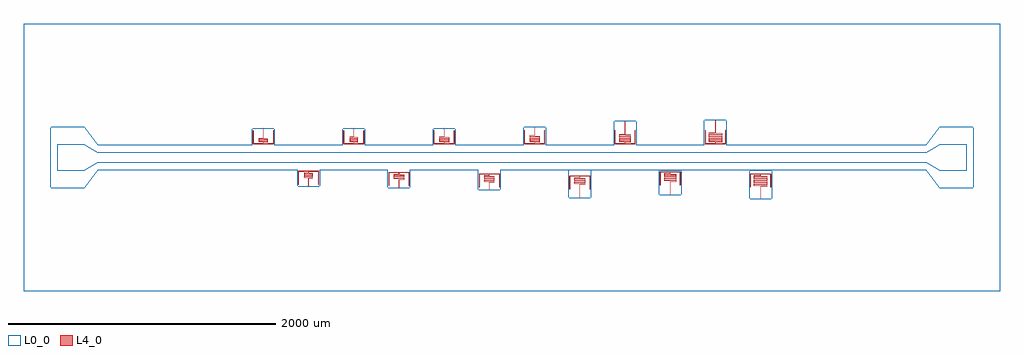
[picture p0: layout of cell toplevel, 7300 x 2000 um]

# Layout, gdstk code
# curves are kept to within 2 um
import gdstk
lib = gdstk.Library(unit=1e-6, precision=1e-09)
def P(c, l, *ps):  # polygons
    for p in ps: c.add(gdstk.Polygon(p, *l))
L0_0 = (0, 0)
L4_0 = (4, 0)

toplevel = lib.new_cell('toplevel')
P(toplevel, L0_0, [(3650,1000),(-3650,1000),(-3650,-225),(-3450,-225),(-3450,225),(-3200,225),(-3100,90),(-1942.5,90),(-1942.5,215),(-1777.5,215),(-1777.5,90),(-1266.136,90),(-1266.136,215),(-1101.136,215),(-1101.136,90),(-589.773,90),(-589.773,215),(-424.773,215),(-424.773,90),(86.591,90),(86.591,225),(251.591,225),(251.591,90),(762.954,90),(762.954,270),(927.954,270),(927.954,90),(1439.318,90),(1439.318,280),(1604.318,280),(1604.318,90),(3100,90),(3200,225),(3450,225),(3450,-225),(3200,-225),(3100,-90),(-86.591,-90),(-86.591,-240),(-251.591,-240),(-251.591,-90),(-762.954,-90),(-762.954,-225),(-927.954,-225),(-927.954,-90),(-1439.318,-90),(-1439.318,-215),(-1604.318,-215),(-1604.318,-90),(-3100,-90),(-3200,-225),(-3650,-225),(-3650,-300),(424.773,-300),(424.773,-95),(589.773,-95),(589.773,-280),(1101.136,-280),(1101.136,-100),(1266.136,-100),(1266.136,-280),(589.773,-280),(589.773,-300),(-3650,-300),(-3650,-310),(1777.5,-310),(1777.5,-100),(1942.5,-100),(1942.5,-310),(-3650,-310),(-3650,-1000),(3650,-1000)],
  [(-3100,40),(-3200,100),(-3400,100),(-3400,-100),(-3200,-100),(-3100,-40),(3100,-40),(3200,-100),(3400,-100),(3400,100),(3200,100),(3100,40)])
P(toplevel, L4_0, [(-1859.7,113.83),(-1859.563,114.44),(-1859.015,114.599),(-1827.792,114.609),(-1826.952,115.005),(-1826.7,115.958),(-1826.745,119.348),(-1827.792,120.191),(-1892,120.201),(-1892.645,120.502),(-1892.69,124.089),(-1892.132,124.595),(-1828.008,124.6),(-1827.218,124.775),(-1826.785,125.314),(-1826.738,129.316),(-1827.087,129.934),(-1827.798,130.191),(-1891.95,130.2),(-1892.645,130.502),(-1892.687,134.114),(-1892.141,134.594),(-1828.008,134.6),(-1826.8,135.275),(-1826.737,139.309),(-1827.087,139.934),(-1827.798,140.191),(-1891.95,140.2),(-1892.637,140.482),(-1892.691,144.08),(-1892.239,144.584),(-1860.969,144.601),(-1859.819,145.228),(-1859.7,214.9),(-1860.3,214.9),(-1860.368,145.47),(-1861.025,145.2),(-1892.345,145.174),(-1893.271,144.264),(-1893.19,140.248),(-1891.986,139.6),(-1827.859,139.594),(-1827.313,139.11),(-1827.359,135.492),(-1828.05,135.2),(-1892.202,135.191),(-1892.912,134.934),(-1893.261,134.316),(-1893.208,130.294),(-1891.992,129.6),(-1827.859,129.594),(-1827.313,129.114),(-1827.352,125.512),(-1828.05,125.2),(-1892.177,125.193),(-1892.876,124.962),(-1893.254,124.348),(-1893.222,120.334),(-1892.042,119.601),(-1827.811,119.59),(-1827.313,119.114),(-1827.306,115.755),(-1827.99,115.201),(-1859.468,115.15),(-1860.277,114.226),(-1860.3,109.9),(-1870,105),(-1930.62,105),(-1932.27,105.279),(-1932.502,200.109),(-1932.952,201.434),(-1934.043,202.31),(-1935.326,202.479),(-1936.607,201.915),(-1937.5,200),(-1937.475,105.954),(-1936.915,103.4),(-1935.563,101.507),(-1933.447,100.346),(-1930.644,100),(-1789.356,100),(-1786.888,100.253),(-1784.934,101.118),(-1783.1,103.365),(-1782.503,106.563),(-1782.5,200),(-1783.085,201.607),(-1784.353,202.415),(-1785.752,202.384),(-1786.983,201.522),(-1787.498,200.109),(-1787.5,106.88),(-1787.751,105.251),(-1850,105),(-1859.7,109.9)],
  [(-1522.12,-113.967),(-1522.278,-114.463),(-1522.799,-114.599),(-1552.26,-114.644),(-1552.932,-115.099),(-1553.118,-116.001),(-1553.084,-119.296),(-1552.273,-120.153),(-1491.784,-120.201),(-1491.241,-120.377),(-1491.118,-120.986),(-1491.141,-124.179),(-1491.691,-124.595),(-1551.895,-124.602),(-1553.028,-125.301),(-1553.08,-129.316),(-1552.719,-129.944),(-1552.008,-130.192),(-1491.93,-130.2),(-1491.175,-130.498),(-1491.136,-134.151),(-1491.673,-134.594),(-1551.872,-134.601),(-1553.021,-135.281),(-1553.085,-139.29),(-1552.76,-139.908),(-1552.002,-140.192),(-1491.868,-140.2),(-1491.178,-140.489),(-1491.131,-144.11),(-1491.669,-144.593),(-1551.81,-144.6),(-1553.008,-145.248),(-1553.082,-149.303),(-1552.737,-149.929),(-1552.032,-150.19),(-1491.868,-150.2),(-1491.186,-150.47),(-1491.127,-154.076),(-1491.571,-154.582),(-1520.855,-154.601),(-1521.984,-155.196),(-1522.118,-214.9),(-1521.518,-214.9),(-1521.443,-155.455),(-1520.798,-155.2),(-1491.454,-155.171),(-1490.546,-154.258),(-1490.64,-150.222),(-1491.832,-149.6),(-1551.968,-149.593),(-1552.506,-149.106),(-1552.454,-145.479),(-1551.768,-145.2),(-1491.604,-145.19),(-1490.9,-144.929),(-1490.555,-144.309),(-1490.62,-140.268),(-1491.055,-139.764),(-1491.826,-139.6),(-1551.954,-139.594),(-1552.508,-139.089),(-1552.453,-135.476),(-1551.833,-135.201),(-1491.629,-135.192),(-1490.9,-134.929),(-1490.554,-134.303),(-1490.61,-130.294),(-1491.741,-129.602),(-1551.963,-129.594),(-1552.509,-129.076),(-1552.462,-125.498),(-1551.707,-125.2),(-1491.598,-125.189),(-1490.906,-124.934),(-1490.553,-124.296),(-1490.586,-120.367),(-1491.004,-119.794),(-1491.741,-119.602),(-1551.994,-119.591),(-1552.503,-119.127),(-1552.51,-115.728),(-1551.833,-115.201),(-1522.338,-115.146),(-1521.54,-114.22),(-1521.518,-109.9),(-1511.818,-105),(-1451.198,-105),(-1449.548,-105.279),(-1449.316,-200.109),(-1448.866,-201.434),(-1447.775,-202.31),(-1446.492,-202.479),(-1445.211,-201.915),(-1444.552,-201.056),(-1444.318,-200),(-1444.34,-106.009),(-1444.874,-103.469),(-1446.255,-101.507),(-1448.371,-100.346),(-1451.174,-100),(-1592.462,-100),(-1594.93,-100.253),(-1596.884,-101.118),(-1598.718,-103.365),(-1599.315,-106.563),(-1599.318,-200),(-1598.733,-201.607),(-1597.465,-202.415),(-1596.066,-202.384),(-1594.835,-201.522),(-1594.321,-200.109),(-1594.318,-106.84),(-1594.067,-105.251),(-1592.438,-105),(-1531.818,-105),(-1522.118,-109.9)],
  [(-1183.336,113.825),(-1183.205,114.434),(-1182.656,114.599),(-1154.41,114.611),(-1153.569,115.03),(-1153.336,116.001),(-1153.402,119.427),(-1154.459,120.193),(-1212.525,120.2),(-1213.299,120.557),(-1213.325,124.097),(-1212.768,124.595),(-1154.554,124.602),(-1153.426,125.301),(-1153.373,129.309),(-1153.724,129.934),(-1154.441,130.192),(-1212.525,130.2),(-1213.28,130.498),(-1213.319,134.147),(-1212.786,134.593),(-1154.577,134.602),(-1153.797,134.811),(-1153.413,135.34),(-1153.37,139.29),(-1153.754,139.958),(-1154.447,140.192),(-1212.587,140.2),(-1213.279,140.495),(-1213.324,144.11),(-1212.79,144.593),(-1154.645,144.6),(-1153.441,145.261),(-1153.372,149.303),(-1153.718,149.929),(-1154.416,150.19),(-1212.587,150.2),(-1213.27,150.473),(-1213.327,154.076),(-1212.888,154.582),(-1184.6,154.601),(-1183.464,155.209),(-1183.336,214.9),(-1183.936,214.9),(-1184.008,155.461),(-1184.656,155.2),(-1213.007,155.17),(-1213.909,154.258),(-1213.82,150.235),(-1212.628,149.6),(-1154.482,149.593),(-1153.948,149.106),(-1153.998,145.486),(-1154.686,145.2),(-1212.85,145.19),(-1213.555,144.929),(-1213.899,144.309),(-1213.839,140.281),(-1213.406,139.768),(-1212.634,139.6),(-1154.496,139.594),(-1153.947,139.089),(-1153.979,135.539),(-1154.622,135.201),(-1212.838,135.191),(-1213.567,134.919),(-1213.902,134.296),(-1213.844,130.294),(-1212.719,129.602),(-1154.491,129.594),(-1153.945,129.076),(-1153.977,125.546),(-1154.748,125.2),(-1212.856,125.189),(-1213.555,124.929),(-1213.903,124.29),(-1213.868,120.367),(-1213.457,119.798),(-1212.719,119.602),(-1154.46,119.591),(-1153.95,119.123),(-1153.945,115.728),(-1154.622,115.201),(-1183.13,115.143),(-1183.914,114.22),(-1183.936,109.9),(-1193.636,105),(-1254.256,105),(-1255.905,105.277),(-1256.139,200.109),(-1256.588,201.434),(-1257.58,202.266),(-1258.963,202.479),(-1260.243,201.915),(-1260.902,201.056),(-1261.136,200),(-1261.113,105.981),(-1260.566,103.435),(-1259.199,101.507),(-1257.084,100.346),(-1254.28,100),(-1112.992,100),(-1110.524,100.253),(-1108.571,101.118),(-1106.752,103.331),(-1106.139,106.588),(-1106.136,200),(-1106.721,201.607),(-1107.989,202.415),(-1109.492,202.349),(-1110.62,201.522),(-1111.134,200.109),(-1111.136,106.983),(-1111.384,105.255),(-1113.016,105),(-1173.636,105),(-1183.336,109.9)],
  [(-845.757,-123.977),(-845.897,-124.446),(-846.373,-124.597),(-883.831,-124.631),(-884.539,-125.055),(-884.754,-125.958),(-884.721,-129.29),(-884.419,-129.887),(-883.844,-130.167),(-807.464,-130.2),(-806.886,-130.366),(-806.754,-131.022),(-806.774,-134.159),(-807.345,-134.596),(-883.435,-134.6),(-884.204,-134.757),(-884.644,-135.248),(-884.716,-139.316),(-884.355,-139.944),(-883.626,-140.193),(-807.514,-140.2),(-806.821,-140.473),(-806.768,-144.114),(-807.332,-144.595),(-883.43,-144.6),(-884.185,-144.747),(-884.627,-145.209),(-884.717,-149.309),(-884.361,-149.939),(-883.626,-150.193),(-807.514,-150.2),(-806.831,-150.452),(-806.767,-154.11),(-807.332,-154.595),(-883.424,-154.6),(-884.604,-155.163),(-884.72,-159.296),(-884.367,-159.934),(-883.632,-160.193),(-807.52,-160.2),(-806.843,-160.429),(-806.764,-164.08),(-807.244,-164.587),(-844.457,-164.6),(-845.572,-165.105),(-845.754,-224.9),(-845.154,-224.9),(-845.06,-165.418),(-844.415,-165.2),(-807.148,-165.18),(-806.495,-164.892),(-806.182,-164.258),(-806.319,-160.137),(-807.485,-159.6),(-883.577,-159.595),(-884.142,-159.11),(-884.072,-155.44),(-883.389,-155.2),(-807.283,-155.193),(-806.548,-154.939),(-806.19,-154.303),(-806.292,-150.189),(-807.479,-149.6),(-883.577,-149.595),(-884.142,-149.11),(-884.082,-145.461),(-883.395,-145.2),(-807.283,-145.193),(-806.554,-144.944),(-806.193,-144.316),(-806.27,-140.235),(-806.718,-139.75),(-807.479,-139.6),(-883.577,-139.595),(-884.141,-139.114),(-884.09,-135.479),(-883.395,-135.2),(-807.307,-135.195),(-806.524,-134.919),(-806.19,-134.303),(-806.254,-130.275),(-806.672,-129.775),(-807.423,-129.601),(-883.622,-129.592),(-884.14,-129.127),(-884.148,-125.755),(-884.003,-125.344),(-883.531,-125.202),(-845.98,-125.148),(-845.18,-124.245),(-845.154,-119.9),(-835.454,-115),(-774.835,-115),(-773.184,-115.279),(-772.954,-117.046),(-772.952,-210.109),(-772.502,-211.434),(-771.411,-212.31),(-770.128,-212.479),(-768.847,-211.915),(-768.189,-211.056),(-767.954,-210),(-767.978,-115.981),(-768.51,-113.469),(-769.892,-111.507),(-772.007,-110.346),(-774.811,-110),(-916.098,-110),(-918.567,-110.253),(-920.52,-111.118),(-922.339,-113.331),(-922.951,-116.538),(-922.954,-210),(-922.37,-211.607),(-921.101,-212.415),(-919.599,-212.349),(-918.471,-211.522),(-917.957,-210.109),(-917.954,-116.82),(-917.706,-115.254),(-916.074,-115),(-855.454,-115),(-845.754,-119.9)],
  [(-506.973,113.83),(-506.832,114.444),(-506.278,114.599),(-470.589,114.607),(-469.739,114.987),(-469.473,115.958),(-469.543,119.44),(-469.971,120.013),(-470.667,120.197),(-543.763,120.2),(-544.418,120.502),(-544.454,124.155),(-543.886,124.596),(-470.792,124.6),(-470.016,124.76),(-469.578,125.261),(-469.511,129.316),(-469.866,129.939),(-470.595,130.193),(-543.718,130.2),(-544.409,130.479),(-544.46,134.114),(-543.9,134.595),(-470.792,134.6),(-470.036,134.75),(-469.591,135.228),(-469.51,139.309),(-469.866,139.939),(-470.595,140.193),(-543.713,140.2),(-544.399,140.458),(-544.46,144.11),(-543.9,144.595),(-470.798,144.6),(-469.616,145.176),(-469.507,149.296),(-469.86,149.934),(-470.589,150.192),(-543.713,150.2),(-544.388,150.435),(-544.463,154.08),(-543.987,154.587),(-508.264,154.601),(-507.144,155.124),(-506.973,214.9),(-507.573,214.9),(-507.664,155.424),(-508.307,155.2),(-544.092,155.178),(-544.737,154.887),(-545.046,154.251),(-544.916,150.15),(-543.742,149.6),(-470.646,149.595),(-470.085,149.11),(-470.152,145.446),(-470.833,145.2),(-543.95,145.193),(-544.679,144.939),(-545.037,144.303),(-544.942,140.202),(-543.748,139.6),(-470.646,139.595),(-470.085,139.11),(-470.141,135.47),(-470.833,135.2),(-543.95,135.193),(-544.679,134.939),(-545.034,134.316),(-544.962,130.248),(-544.523,129.757),(-543.753,129.6),(-470.646,129.595),(-470.086,129.114),(-470.134,125.486),(-470.828,125.2),(-543.926,125.194),(-544.703,124.919),(-545.037,124.303),(-544.973,120.275),(-544.555,119.775),(-543.804,119.601),(-470.715,119.598),(-470.094,119.171),(-470.079,115.755),(-470.254,115.319),(-470.874,115.2),(-506.701,115.159),(-507.292,114.83),(-507.548,114.239),(-507.573,109.9),(-517.273,105),(-577.893,105),(-579.543,105.279),(-579.773,106.983),(-579.775,200.109),(-580.225,201.434),(-581.316,202.31),(-582.599,202.479),(-583.88,201.915),(-584.538,201.056),(-584.773,200),(-584.746,105.926),(-584.157,103.331),(-582.771,101.451),(-580.72,100.346),(-577.917,100),(-436.629,100),(-434.16,100.253),(-432.207,101.118),(-430.373,103.365),(-429.775,106.613),(-429.773,200),(-430.429,201.689),(-431.732,202.441),(-433.128,202.349),(-434.321,201.434),(-434.77,200.109),(-434.773,106.82),(-435.021,105.254),(-436.653,105),(-497.273,105),(-506.973,109.9)],
  [(-169.393,-133.972),(-169.559,-134.47),(-170.086,-134.599),(-205.974,-134.632),(-206.684,-135.067),(-206.891,-136.001),(-206.851,-139.322),(-206.567,-139.876),(-205.994,-140.164),(-132.571,-140.201),(-132.014,-140.377),(-131.891,-141.022),(-131.907,-144.139),(-132.505,-144.597),(-205.628,-144.601),(-206.373,-144.775),(-206.791,-145.275),(-206.855,-149.303),(-206.521,-149.919),(-205.744,-150.194),(-132.646,-150.2),(-131.952,-150.486),(-131.904,-154.114),(-132.464,-154.595),(-205.571,-154.6),(-206.341,-154.757),(-206.781,-155.248),(-206.852,-159.316),(-206.497,-159.939),(-205.768,-160.193),(-132.651,-160.2),(-131.959,-160.47),(-131.904,-164.11),(-132.464,-164.595),(-205.566,-164.6),(-206.315,-164.743),(-206.76,-165.202),(-206.855,-169.303),(-206.497,-169.939),(-205.768,-170.193),(-132.651,-170.2),(-131.97,-170.446),(-131.904,-174.11),(-132.464,-174.595),(-205.56,-174.6),(-206.289,-174.731),(-206.734,-175.15),(-206.856,-179.296),(-206.503,-179.934),(-205.774,-180.192),(-132.656,-180.2),(-131.982,-180.424),(-131.9,-184.076),(-132.377,-184.587),(-168.1,-184.601),(-169.2,-185.092),(-169.391,-239.9),(-168.791,-239.9),(-168.692,-185.411),(-168.051,-185.2),(-132.271,-185.178),(-131.62,-184.882),(-131.317,-184.245),(-131.462,-180.124),(-132.621,-179.6),(-205.718,-179.595),(-206.279,-179.106),(-206.206,-175.435),(-205.531,-175.2),(-132.407,-175.192),(-131.678,-174.934),(-131.336,-174.348),(-131.434,-170.176),(-131.88,-169.737),(-132.616,-169.6),(-205.718,-169.595),(-206.278,-169.11),(-206.217,-165.458),(-205.531,-165.2),(-132.413,-165.193),(-131.684,-164.939),(-131.328,-164.309),(-131.41,-160.228),(-131.854,-159.75),(-132.61,-159.6),(-205.718,-159.595),(-206.278,-159.114),(-206.227,-155.479),(-205.536,-155.2),(-132.413,-155.193),(-131.684,-154.939),(-131.329,-154.316),(-131.396,-150.261),(-131.835,-149.76),(-132.61,-149.6),(-205.705,-149.596),(-206.272,-149.155),(-206.236,-145.502),(-205.586,-145.2),(-132.437,-145.194),(-131.696,-144.948),(-131.326,-144.296),(-131.383,-140.294),(-131.867,-139.743),(-132.702,-139.6),(-205.745,-139.593),(-206.285,-139.045),(-206.282,-135.728),(-205.919,-135.234),(-169.662,-135.159),(-169.072,-134.83),(-168.816,-134.239),(-168.791,-129.9),(-159.091,-125),(-98.471,-125),(-96.854,-125.241),(-96.591,-126.88),(-96.588,-220.109),(-96.139,-221.434),(-95.048,-222.31),(-93.765,-222.479),(-92.484,-221.915),(-91.825,-221.056),(-91.591,-220),(-91.616,-125.954),(-92.191,-123.365),(-93.56,-121.479),(-95.643,-120.346),(-98.447,-120),(-239.735,-120),(-242.203,-120.253),(-244.157,-121.118),(-245.195,-122.067),(-245.975,-123.331),(-246.588,-126.588),(-246.591,-220),(-246.006,-221.607),(-244.738,-222.415),(-243.339,-222.384),(-242.107,-221.522),(-241.593,-220.109),(-241.591,-126.921),(-241.343,-125.255),(-239.711,-125),(-179.091,-125),(-169.391,-129.9)],
  [(169.391,113.83),(169.532,114.444),(170.086,114.599),(205.774,114.607),(206.63,114.993),(206.891,116.001),(206.834,119.394),(206.467,119.962),(205.732,120.195),(132.702,120.2),(131.942,120.512),(131.907,124.139),(132.437,124.593),(205.628,124.601),(206.373,124.775),(206.791,125.275),(206.855,129.303),(206.521,129.919),(205.744,130.194),(132.646,130.2),(131.948,130.495),(131.904,134.114),(132.464,134.595),(205.571,134.6),(206.347,134.76),(206.789,135.268),(206.852,139.316),(206.497,139.939),(205.768,140.193),(132.646,140.2),(131.955,140.479),(131.904,144.114),(132.464,144.595),(205.571,144.6),(206.328,144.75),(206.772,145.228),(206.854,149.309),(206.497,149.939),(205.768,150.193),(132.651,150.2),(131.964,150.458),(131.904,154.11),(132.464,154.595),(205.566,154.6),(206.302,154.737),(206.747,155.176),(206.856,159.296),(206.503,159.934),(205.774,160.192),(132.651,160.2),(131.976,160.435),(131.9,164.08),(132.377,164.587),(168.1,164.601),(169.22,165.124),(169.391,224.9),(168.791,224.9),(168.7,165.424),(168.056,165.2),(132.271,165.178),(131.626,164.887),(131.318,164.251),(131.448,160.15),(131.893,159.731),(132.621,159.6),(205.718,159.595),(206.278,159.11),(206.212,155.446),(205.531,155.2),(132.413,155.193),(131.684,154.939),(131.327,154.303),(131.422,150.202),(131.867,149.743),(132.616,149.6),(205.718,149.595),(206.278,149.11),(206.223,145.47),(205.531,145.2),(132.413,145.193),(131.684,144.939),(131.329,144.316),(131.401,140.248),(131.841,139.757),(132.61,139.6),(205.718,139.595),(206.278,139.114),(206.231,135.489),(205.536,135.2),(132.413,135.193),(131.69,134.944),(131.331,134.322),(131.388,130.281),(131.828,129.764),(132.61,129.6),(205.705,129.596),(206.272,129.155),(206.236,125.502),(205.586,125.2),(132.437,125.194),(131.696,124.948),(131.343,124.374),(131.365,120.347),(131.822,119.768),(132.702,119.6),(205.745,119.593),(206.285,119.045),(206.282,115.728),(205.972,115.249),(169.662,115.159),(169.072,114.83),(168.816,114.239),(168.791,109.9),(159.091,105),(98.471,105),(96.854,105.241),(96.591,106.88),(96.588,200.109),(96.139,201.434),(95.048,202.31),(93.765,202.479),(92.484,201.915),(91.825,201.056),(91.591,200),(91.616,105.954),(92.191,103.365),(93.56,101.479),(95.643,100.346),(98.447,100),(239.735,100),(242.203,100.253),(244.157,101.118),(245.195,102.067),(245.975,103.331),(246.588,106.588),(246.591,200),(246.006,201.607),(244.738,202.415),(243.339,202.384),(242.107,201.522),(241.593,200.109),(241.591,106.921),(241.343,105.255),(239.711,105),(179.091,105),(169.391,109.9)],
  [(506.97,-148.977),(506.8,-149.474),(506.172,-149.6),(466.972,-149.619),(466.234,-149.994),(465.973,-150.88),(466.001,-154.264),(466.28,-154.859),(466.766,-155.14),(547.363,-155.203),(547.817,-155.341),(547.967,-155.768),(547.968,-159.023),(547.7,-159.533),(467.149,-159.604),(466.354,-159.871),(465.988,-160.63),(465.997,-164.239),(466.568,-165.066),(547.386,-165.204),(547.821,-165.344),(547.962,-165.707),(547.767,-169.498),(467.149,-169.604),(466.396,-169.838),(465.999,-170.549),(465.985,-174.138),(466.415,-174.976),(467.384,-175.2),(547.386,-175.204),(547.961,-175.698),(547.802,-179.472),(467.155,-179.604),(466.372,-179.856),(466.004,-180.523),(465.984,-184.132),(466.286,-184.865),(467.384,-185.2),(547.382,-185.204),(547.96,-185.686),(547.832,-189.444),(467.161,-189.603),(466.421,-189.82),(466.023,-190.432),(465.973,-193.897),(466.286,-194.865),(467.23,-195.199),(547.213,-195.2),(547.916,-195.498),(547.962,-199.093),(547.478,-199.588),(508.253,-199.601),(507.503,-199.768),(507.072,-200.275),(506.973,-299.9),(507.573,-299.9),(507.632,-200.492),(508.302,-200.2),(547.567,-200.181),(548.22,-199.903),(548.539,-199.29),(548.478,-195.288),(548.035,-194.764),(547.253,-194.6),(467.154,-194.595),(466.586,-194.118),(466.625,-190.508),(467.328,-190.2),(547.438,-190.194),(548.167,-189.948),(548.532,-189.328),(548.49,-185.321),(548.055,-184.775),(547.253,-184.6),(467.154,-184.595),(466.587,-184.123),(466.621,-180.522),(467.328,-180.2),(547.438,-180.194),(548.167,-179.948),(548.53,-179.335),(548.499,-175.347),(548.061,-174.779),(547.253,-174.6),(467.154,-174.595),(466.587,-174.123),(466.616,-170.536),(467.328,-170.2),(547.438,-170.194),(548.167,-169.948),(548.53,-169.335),(548.507,-165.373),(548.074,-164.787),(547.259,-164.6),(467.154,-164.595),(466.587,-164.127),(466.613,-160.546),(467.328,-160.2),(547.402,-160.196),(548.155,-159.958),(548.53,-159.335),(548.512,-155.393),(548.13,-154.824),(547.304,-154.601),(467.141,-154.595),(466.586,-154.114),(466.65,-150.449),(467.379,-150.2),(506.669,-150.165),(507.281,-149.842),(507.546,-149.251),(507.573,-144.9),(517.273,-140),(577.893,-140),(579.516,-140.246),(579.773,-141.983),(579.775,-235.109),(580.007,-236.056),(580.584,-236.843),(581.418,-237.349),(582.382,-237.498),(583.329,-237.266),(584.116,-236.689),(584.773,-235),(584.773,-141.973),(584.437,-139.086),(583.265,-136.937),(581.338,-135.57),(578.6,-135.014),(436.629,-135),(434.293,-135.221),(432.412,-135.984),(431.28,-136.937),(430.47,-138.157),(429.781,-141.332),(429.773,-235),(429.963,-235.957),(430.584,-236.843),(431.521,-237.384),(432.491,-237.49),(434.116,-236.689),(434.773,-235),(434.773,-141.82),(435.021,-140.254),(436.653,-140),(497.273,-140),(506.973,-144.9)],
  [(845.755,113.83),(845.876,114.421),(846.382,114.598),(887.306,114.627),(888.017,115.024),(888.254,115.88),(888.225,119.27),(887.942,119.865),(887.448,120.143),(803.868,120.203),(803.412,120.339),(803.26,120.768),(803.259,124.023),(803.528,124.533),(887.072,124.604),(887.873,124.871),(888.239,125.63),(888.242,129.145),(887.691,130.05),(803.841,130.204),(803.406,130.344),(803.265,130.707),(803.258,134.004),(803.462,134.499),(887.072,134.604),(887.861,134.861),(888.238,135.618),(888.242,139.138),(887.812,139.976),(886.843,140.2),(803.841,140.204),(803.41,140.341),(803.266,140.698),(803.425,144.472),(887.072,144.604),(887.855,144.856),(888.223,145.523),(888.242,149.138),(887.914,149.892),(886.843,150.2),(803.85,150.204),(803.416,150.335),(803.268,150.686),(803.395,154.444),(887.067,154.603),(887.873,154.871),(888.22,155.504),(888.25,159.024),(887.973,159.83),(886.843,160.2),(803.85,160.204),(803.423,160.33),(803.269,160.677),(803.369,164.412),(804.071,164.6),(887.061,164.603),(887.787,164.807),(888.198,165.406),(888.254,168.897),(887.942,169.865),(886.997,170.199),(804.014,170.2),(803.316,170.486),(803.265,174.093),(803.753,174.588),(844.469,174.601),(845.211,174.76),(845.641,175.242),(845.754,269.9),(845.154,269.9),(845.089,175.476),(844.42,175.2),(803.666,175.182),(803.007,174.903),(802.687,174.283),(802.762,170.255),(803.205,169.757),(803.979,169.6),(887.068,169.596),(887.484,169.472),(887.641,169.118),(887.596,165.492),(886.895,165.2),(803.795,165.194),(803.06,164.948),(802.696,164.328),(802.747,160.294),(803.185,159.768),(803.979,159.6),(887.068,159.596),(887.484,159.472),(887.64,159.123),(887.602,155.508),(886.895,155.2),(803.795,155.194),(803.06,154.948),(802.696,154.328),(802.737,150.321),(803.172,149.775),(803.974,149.6),(887.068,149.596),(887.484,149.472),(887.64,149.123),(887.606,145.522),(886.9,145.2),(803.795,145.194),(803.06,144.948),(802.697,144.335),(802.729,140.347),(803.166,139.779),(803.974,139.6),(887.068,139.596),(887.482,139.474),(887.64,139.127),(887.611,135.536),(886.9,135.2),(803.795,135.194),(803.066,134.953),(802.699,134.341),(802.721,130.373),(803.153,129.787),(803.974,129.6),(887.068,129.596),(887.482,129.474),(887.64,129.127),(887.614,125.546),(886.9,125.2),(803.831,125.196),(803.072,124.958),(802.697,124.335),(802.717,120.387),(803.172,119.775),(803.929,119.601),(887.022,119.598),(887.464,119.487),(887.641,119.114),(887.577,115.449),(886.848,115.2),(846.065,115.167),(845.451,114.848),(845.181,114.251),(845.154,109.9),(835.454,105),(774.835,105),(773.211,105.246),(772.954,107.046),(772.952,200.109),(772.72,201.056),(772.143,201.843),(771.31,202.349),(770.345,202.498),(769.398,202.266),(768.611,201.689),(768.105,200.855),(767.954,200),(767.954,107.041),(768.29,104.086),(769.462,101.937),(771.389,100.57),(774.127,100.014),(916.098,100),(918.467,100.229),(920.35,101.005),(921.447,101.937),(922.258,103.157),(922.748,104.585),(922.946,106.332),(922.954,200),(922.764,200.957),(922.143,201.843),(921.31,202.349),(920.237,202.49),(919.398,202.266),(918.611,201.689),(918.105,200.855),(917.954,200),(917.954,106.82),(917.706,105.254),(916.074,105),(855.454,105),(845.754,109.9)],
  [(1183.334,-118.981),(1183.188,-119.452),(1182.704,-119.598),(1139.304,-119.624),(1138.578,-120.018),(1138.337,-120.88),(1138.367,-124.277),(1138.612,-124.824),(1139.162,-125.148),(1227.718,-125.203),(1228.178,-125.339),(1228.331,-125.764),(1228.332,-129.023),(1228.001,-129.556),(1139.518,-129.604),(1138.689,-129.897),(1138.346,-130.686),(1138.362,-134.245),(1138.985,-135.09),(1227.75,-135.204),(1228.184,-135.344),(1228.325,-135.703),(1228.333,-139.004),(1228.128,-139.499),(1139.518,-139.604),(1138.7,-139.886),(1138.354,-140.612),(1138.349,-144.145),(1138.822,-145.006),(1139.748,-145.2),(1227.745,-145.204),(1228.178,-145.339),(1228.324,-145.694),(1228.164,-149.474),(1139.524,-149.603),(1138.742,-149.852),(1138.367,-150.523),(1138.348,-154.138),(1138.683,-154.898),(1139.748,-155.2),(1227.741,-155.204),(1228.172,-155.333),(1228.323,-155.682),(1228.194,-159.446),(1139.53,-159.603),(1138.724,-159.866),(1138.36,-160.568),(1138.34,-164.024),(1138.649,-164.865),(1139.748,-165.2),(1227.741,-165.204),(1228.166,-165.328),(1228.322,-165.673),(1228.194,-169.446),(1139.53,-169.603),(1138.803,-169.807),(1138.395,-170.4),(1138.337,-173.897),(1138.649,-174.865),(1139.6,-175.199),(1227.571,-175.2),(1228.274,-175.482),(1228.326,-179.093),(1227.829,-179.589),(1184.628,-179.601),(1183.886,-179.757),(1183.452,-180.235),(1183.336,-279.9),(1183.936,-279.9),(1184.003,-180.473),(1184.676,-180.2),(1227.912,-180.184),(1228.578,-179.908),(1228.903,-179.29),(1228.829,-175.255),(1228.386,-174.757),(1227.606,-174.6),(1139.532,-174.596),(1139.109,-174.474),(1138.95,-174.123),(1138.995,-170.492),(1139.696,-170.2),(1227.79,-170.194),(1228.531,-169.948),(1228.895,-169.328),(1228.842,-165.288),(1228.399,-164.764),(1227.611,-164.6),(1139.527,-164.596),(1139.109,-164.474),(1138.95,-164.123),(1138.99,-160.505),(1139.696,-160.2),(1227.79,-160.194),(1228.531,-159.948),(1228.895,-159.328),(1228.851,-155.314),(1228.412,-154.771),(1227.611,-154.6),(1139.527,-154.596),(1139.109,-154.474),(1138.95,-154.123),(1138.986,-150.518),(1139.696,-150.2),(1227.784,-150.195),(1228.525,-149.953),(1228.894,-149.335),(1228.86,-145.34),(1228.425,-144.779),(1227.611,-144.6),(1139.527,-144.596),(1139.109,-144.474),(1138.951,-144.127),(1138.981,-140.532),(1139.696,-140.2),(1227.784,-140.195),(1228.525,-139.953),(1228.892,-139.341),(1228.868,-135.367),(1228.438,-134.787),(1227.617,-134.6),(1139.527,-134.596),(1139.109,-134.474),(1138.951,-134.127),(1138.979,-130.539),(1139.691,-130.2),(1227.754,-130.196),(1228.519,-129.958),(1228.894,-129.335),(1228.874,-125.387),(1228.45,-124.794),(1227.656,-124.601),(1139.574,-124.598),(1139.109,-124.474),(1138.95,-124.118),(1139.014,-120.449),(1139.743,-120.2),(1183.065,-120.159),(1183.634,-119.853),(1183.909,-119.258),(1183.936,-114.9),(1193.636,-110),(1254.256,-110),(1255.862,-110.233),(1256.136,-111.82),(1256.139,-205.109),(1256.371,-206.056),(1256.947,-206.843),(1257.781,-207.349),(1258.745,-207.498),(1259.693,-207.266),(1260.404,-206.768),(1260.946,-205.957),(1261.134,-205.109),(1261.136,-111.785),(1260.78,-109.018),(1259.542,-106.841),(1257.529,-105.5),(1254.964,-105.014),(1112.992,-105),(1110.623,-105.229),(1108.741,-106.005),(1107.644,-106.937),(1106.816,-108.192),(1106.322,-109.683),(1106.144,-111.358),(1106.136,-205),(1106.327,-205.957),(1106.947,-206.843),(1107.781,-207.349),(1108.854,-207.49),(1109.693,-207.266),(1110.48,-206.689),(1111.134,-205.109),(1111.136,-111.983),(1111.384,-110.255),(1113.016,-110),(1173.636,-110),(1183.336,-114.9)],
  [(1522.118,113.83),(1522.243,114.425),(1522.76,114.598),(1571.125,114.62),(1571.862,114.999),(1572.117,115.863),(1572.087,119.277),(1571.789,119.882),(1571.279,120.151),(1472.727,120.203),(1472.274,120.341),(1472.124,120.768),(1472.126,124.063),(1472.443,124.553),(1570.924,124.603),(1571.789,124.918),(1572.107,125.668),(1572.092,129.245),(1571.857,129.806),(1571.43,130.105),(1472.709,130.204),(1472.276,130.339),(1472.122,130.795),(1472.122,134.009),(1472.373,134.525),(1570.924,134.603),(1571.748,134.881),(1572.098,135.593),(1572.105,139.145),(1571.626,140.01),(1570.701,140.2),(1472.714,140.204),(1472.28,140.335),(1472.131,140.686),(1472.122,144.004),(1472.293,144.475),(1570.924,144.603),(1571.737,144.871),(1572.095,145.574),(1572.106,149.138),(1571.737,149.929),(1570.701,150.2),(1472.718,150.204),(1472.286,150.33),(1472.132,150.677),(1472.263,154.448),(1472.935,154.6),(1570.918,154.603),(1571.719,154.856),(1572.091,155.549),(1572.107,159.132),(1571.8,159.87),(1570.701,160.2),(1472.723,160.203),(1472.295,160.323),(1472.128,160.711),(1472.263,164.448),(1472.935,164.6),(1571.026,164.609),(1571.772,164.902),(1572.088,165.53),(1572.114,169.024),(1571.862,169.8),(1571.378,170.124),(1570.701,170.2),(1472.723,170.203),(1472.272,170.343),(1472.129,170.707),(1472.236,174.416),(1472.935,174.6),(1570.907,174.602),(1571.619,174.787),(1572.046,175.354),(1572.118,178.892),(1571.805,179.865),(1570.844,180.199),(1472.888,180.2),(1472.193,180.455),(1472.129,184.093),(1472.27,184.455),(1472.642,184.591),(1520.815,184.6),(1521.535,184.74),(1521.975,185.176),(1522.118,279.9),(1521.518,279.9),(1521.439,185.446),(1520.773,185.2),(1472.567,185.187),(1471.882,184.914),(1471.55,184.283),(1471.652,180.196),(1472.101,179.74),(1472.854,179.6),(1570.914,179.597),(1571.346,179.474),(1571.505,179.118),(1571.447,175.464),(1570.753,175.2),(1472.682,175.195),(1471.93,174.953),(1471.558,174.322),(1471.637,170.228),(1472.088,169.747),(1472.854,169.6),(1570.914,169.597),(1571.343,169.475),(1571.504,169.123),(1571.454,165.479),(1570.753,165.2),(1472.682,165.195),(1471.93,164.953),(1471.559,164.328),(1471.623,160.261),(1472.068,159.757),(1472.849,159.6),(1570.914,159.597),(1571.343,159.475),(1571.503,159.127),(1571.46,155.495),(1570.753,155.2),(1472.682,155.195),(1471.936,154.958),(1471.561,154.335),(1471.61,150.294),(1472.055,149.764),(1472.849,149.6),(1570.914,149.597),(1571.343,149.475),(1571.503,149.127),(1571.465,145.508),(1570.753,145.2),(1472.682,145.195),(1471.936,144.958),(1471.561,144.335),(1471.603,140.314),(1472.042,139.771),(1472.849,139.6),(1570.914,139.597),(1571.343,139.475),(1571.503,139.127),(1571.469,135.518),(1570.758,135.2),(1472.682,135.195),(1471.936,134.958),(1471.562,134.341),(1471.594,130.34),(1472.036,129.775),(1472.849,129.6),(1570.904,129.597),(1571.33,129.486),(1571.507,129.102),(1571.473,125.532),(1570.793,125.2),(1472.622,125.192),(1471.936,124.958),(1471.562,124.341),(1471.59,120.354),(1472.017,119.787),(1472.787,119.601),(1570.881,119.598),(1571.348,119.472),(1571.505,119.118),(1571.459,115.492),(1570.712,115.2),(1522.416,115.164),(1521.831,114.865),(1521.547,114.264),(1521.518,109.9),(1511.818,105),(1451.198,105),(1449.6,105.228),(1449.318,106.921),(1449.316,200.109),(1449.084,201.056),(1448.507,201.843),(1447.673,202.349),(1446.709,202.498),(1445.861,202.31),(1445.05,201.768),(1444.508,200.957),(1444.318,200),(1444.318,106.926),(1444.664,104.052),(1445.854,101.905),(1447.753,100.57),(1450.491,100.014),(1592.462,100),(1594.831,100.229),(1596.714,101.005),(1597.811,101.937),(1598.621,103.157),(1599.097,104.52),(1599.309,106.306),(1599.318,200),(1599.128,200.957),(1598.507,201.843),(1597.57,202.384),(1596.6,202.49),(1595.762,202.266),(1594.975,201.689),(1594.508,200.957),(1594.318,200),(1594.318,106.84),(1594.073,105.258),(1592.438,105),(1531.818,105),(1522.118,109.9)],
  [(1859.697,-133.981),(1859.548,-134.455),(1859.058,-134.598),(1810.693,-134.62),(1809.956,-135),(1809.701,-135.863),(1809.731,-139.277),(1810.03,-139.882),(1810.604,-140.165),(1909.091,-140.203),(1909.544,-140.341),(1909.695,-140.768),(1909.692,-144.063),(1909.375,-144.553),(1810.894,-144.603),(1810.076,-144.876),(1809.712,-145.668),(1809.726,-149.245),(1809.961,-149.806),(1810.388,-150.105),(1909.109,-150.204),(1909.546,-150.343),(1909.697,-150.805),(1909.696,-154.009),(1909.445,-154.525),(1810.888,-154.603),(1810.064,-154.886),(1809.718,-155.612),(1809.713,-159.145),(1810.192,-160.009),(1811.117,-160.2),(1909.109,-160.204),(1909.542,-160.339),(1909.688,-160.694),(1909.696,-164.009),(1909.523,-164.477),(1810.894,-164.603),(1810.07,-164.881),(1809.72,-165.593),(1809.713,-169.145),(1810.082,-169.929),(1811.117,-170.2),(1909.104,-170.204),(1909.538,-170.335),(1909.687,-170.686),(1909.555,-174.448),(1908.883,-174.6),(1810.894,-174.603),(1810.082,-174.871),(1809.723,-175.574),(1809.704,-179.024),(1810.018,-179.87),(1811.117,-180.2),(1909.1,-180.204),(1909.532,-180.33),(1909.686,-180.677),(1909.555,-184.448),(1908.883,-184.6),(1810.9,-184.603),(1810.099,-184.856),(1809.727,-185.549),(1809.704,-189.024),(1809.956,-189.8),(1810.44,-190.124),(1811.117,-190.2),(1909.095,-190.203),(1909.523,-190.323),(1909.69,-190.711),(1909.582,-194.416),(1908.883,-194.6),(1810.792,-194.609),(1810.047,-194.902),(1809.73,-195.53),(1809.704,-199.024),(1809.928,-199.764),(1810.394,-200.108),(1811.117,-200.2),(1909.095,-200.203),(1909.546,-200.343),(1909.689,-200.707),(1909.607,-204.379),(1908.883,-204.6),(1810.911,-204.602),(1810.199,-204.787),(1809.772,-205.354),(1809.7,-208.892),(1810.013,-209.865),(1810.974,-210.199),(1908.93,-210.2),(1909.625,-210.455),(1909.689,-214.093),(1909.548,-214.455),(1909.176,-214.591),(1861.003,-214.6),(1860.283,-214.74),(1859.843,-215.176),(1859.7,-215.979),(1859.7,-309.9),(1860.3,-309.9),(1860.379,-215.446),(1861.045,-215.2),(1909.251,-215.187),(1909.936,-214.914),(1910.268,-214.283),(1910.166,-210.196),(1909.717,-209.74),(1908.964,-209.6),(1810.905,-209.597),(1810.472,-209.474),(1810.314,-209.118),(1810.371,-205.464),(1811.065,-205.2),(1909.136,-205.195),(1909.888,-204.953),(1910.26,-204.322),(1910.181,-200.228),(1909.73,-199.747),(1908.964,-199.6),(1810.905,-199.597),(1810.475,-199.475),(1810.314,-199.123),(1810.364,-195.479),(1811.065,-195.2),(1909.136,-195.195),(1909.888,-194.953),(1910.259,-194.328),(1910.195,-190.261),(1909.75,-189.757),(1908.97,-189.6),(1810.905,-189.597),(1810.475,-189.475),(1810.315,-189.127),(1810.358,-185.495),(1811.065,-185.2),(1909.136,-185.195),(1909.882,-184.958),(1910.257,-184.335),(1910.208,-180.294),(1909.763,-179.764),(1908.97,-179.6),(1810.905,-179.597),(1810.475,-179.475),(1810.315,-179.127),(1810.353,-175.508),(1811.065,-175.2),(1909.136,-175.195),(1909.882,-174.958),(1910.257,-174.335),(1910.215,-170.314),(1909.776,-169.771),(1908.97,-169.6),(1810.905,-169.597),(1810.475,-169.475),(1810.315,-169.127),(1810.349,-165.518),(1810.567,-165.269),(1811.06,-165.2),(1909.136,-165.195),(1909.882,-164.958),(1910.256,-164.341),(1910.224,-160.34),(1909.782,-159.775),(1908.97,-159.6),(1810.905,-159.597),(1810.477,-159.477),(1810.315,-159.131),(1810.345,-155.532),(1810.561,-155.272),(1811.06,-155.2),(1909.136,-155.195),(1909.882,-154.958),(1910.256,-154.341),(1910.23,-150.36),(1909.795,-149.783),(1908.975,-149.6),(1810.914,-149.597),(1810.488,-149.486),(1810.32,-149.163),(1810.345,-145.532),(1810.529,-145.288),(1811.025,-145.2),(1909.196,-145.192),(1909.882,-144.958),(1910.256,-144.341),(1910.243,-140.406),(1909.845,-139.815),(1909.031,-139.601),(1810.937,-139.598),(1810.47,-139.472),(1810.314,-139.118),(1810.359,-135.492),(1811.106,-135.2),(1859.403,-135.164),(1859.987,-134.865),(1860.271,-134.264),(1860.3,-129.9),(1870,-125),(1930.62,-125),(1932.218,-125.228),(1932.5,-126.9),(1932.502,-220.109),(1932.734,-221.056),(1933.311,-221.843),(1934.145,-222.349),(1935.109,-222.498),(1935.957,-222.31),(1936.768,-221.768),(1937.31,-220.957),(1937.498,-220.109),(1937.5,-126.88),(1937.154,-124.052),(1936.678,-122.915),(1935.964,-121.905),(1934.031,-120.556),(1931.327,-120.014),(1789.356,-120),(1787.02,-120.221),(1785.105,-121.005),(1784.007,-121.937),(1783.18,-123.192),(1782.679,-124.715),(1782.507,-126.385),(1782.5,-220),(1782.69,-220.957),(1783.311,-221.843),(1784.248,-222.384),(1785.218,-222.49),(1786.056,-222.266),(1786.768,-221.768),(1787.31,-220.957),(1787.498,-220.109),(1787.5,-126.88),(1787.751,-125.251),(1789.38,-125),(1850,-125),(1859.7,-129.9)])

lib.write_gds('toplevel.gds')
